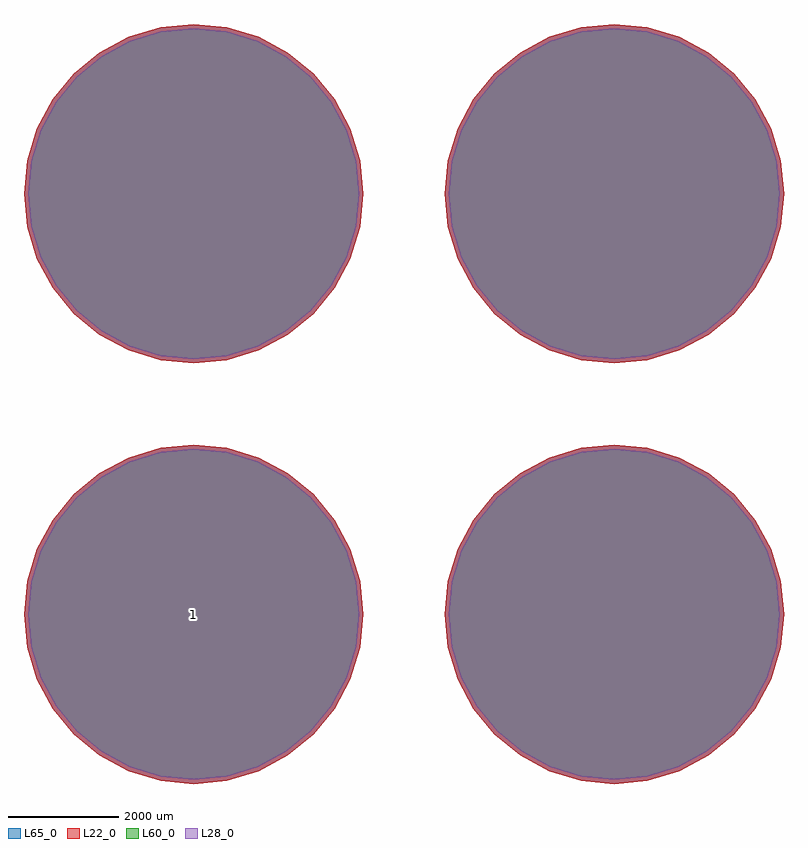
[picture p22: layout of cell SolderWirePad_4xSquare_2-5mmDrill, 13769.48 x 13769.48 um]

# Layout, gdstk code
import gdstk
lib = gdstk.Library(unit=1e-6, precision=1e-09)
def P(c, l, *ps):  # polygons
    for p in ps: c.add(gdstk.Polygon(p, *l))
L22_0 = (22, 0)
L28_0 = (28, 0)
L60_0 = (60, 0)
L65_0 = (65, 0)

solderwirepad_4xsquare_2 = lib.new_cell('SolderWirePad_4xSquare_2-5mmDrill')
P(solderwirepad_4xsquare_2, L22_0, [(6884.74,3810),(6825.66,4409.852),(6650.689,4986.652),(6366.553,5518.234),(5984.17,5984.17),(5518.234,6366.553),(4986.652,6650.689),(4409.852,6825.66),(3810,6884.74),(3210.148,6825.66),(2633.348,6650.689),(2101.766,6366.553),(1635.83,5984.17),(1253.447,5518.234),(969.311,4986.652),(794.34,4409.852),(735.26,3810),(794.34,3210.148),(969.311,2633.348),(1253.447,2101.766),(1635.83,1635.83),(2101.766,1253.447),(2633.348,969.311),(3210.148,794.34),(3810,735.26),(4409.852,794.34),(4986.652,969.311),(5518.234,1253.447),(5984.17,1635.83),(6366.553,2101.766),(6650.689,2633.348),(6825.66,3210.148)],
  [(-735.26,3810),(-794.34,4409.852),(-969.311,4986.652),(-1253.447,5518.234),(-1635.83,5984.17),(-2101.766,6366.553),(-2633.348,6650.689),(-3210.148,6825.66),(-3810,6884.74),(-4409.852,6825.66),(-4986.652,6650.689),(-5518.234,6366.553),(-5984.17,5984.17),(-6366.553,5518.234),(-6650.689,4986.652),(-6825.66,4409.852),(-6884.74,3810),(-6825.66,3210.148),(-6650.689,2633.348),(-6366.553,2101.766),(-5984.17,1635.83),(-5518.234,1253.447),(-4986.652,969.311),(-4409.852,794.34),(-3810,735.26),(-3210.148,794.34),(-2633.348,969.311),(-2101.766,1253.447),(-1635.83,1635.83),(-1253.447,2101.766),(-969.311,2633.348),(-794.34,3210.148)],
  [(6884.74,-3810),(6825.66,-3210.148),(6650.689,-2633.348),(6366.553,-2101.766),(5984.17,-1635.83),(5518.234,-1253.447),(4986.652,-969.311),(4409.852,-794.34),(3810,-735.26),(3210.148,-794.34),(2633.348,-969.311),(2101.766,-1253.447),(1635.83,-1635.83),(1253.447,-2101.766),(969.311,-2633.348),(794.34,-3210.148),(735.26,-3810),(794.34,-4409.852),(969.311,-4986.652),(1253.447,-5518.234),(1635.83,-5984.17),(2101.766,-6366.553),(2633.348,-6650.689),(3210.148,-6825.66),(3810,-6884.74),(4409.852,-6825.66),(4986.652,-6650.689),(5518.234,-6366.553),(5984.17,-5984.17),(6366.553,-5518.234),(6650.689,-4986.652),(6825.66,-4409.852)],
  [(-735.26,-3810),(-794.34,-3210.148),(-969.311,-2633.348),(-1253.447,-2101.766),(-1635.83,-1635.83),(-2101.766,-1253.447),(-2633.348,-969.311),(-3210.148,-794.34),(-3810,-735.26),(-4409.852,-794.34),(-4986.652,-969.311),(-5518.234,-1253.447),(-5984.17,-1635.83),(-6366.553,-2101.766),(-6650.689,-2633.348),(-6825.66,-3210.148),(-6884.74,-3810),(-6825.66,-4409.852),(-6650.689,-4986.652),(-6366.553,-5518.234),(-5984.17,-5984.17),(-5518.234,-6366.553),(-4986.652,-6650.689),(-4409.852,-6825.66),(-3810,-6884.74),(-3210.148,-6825.66),(-2633.348,-6650.689),(-2101.766,-6366.553),(-1635.83,-5984.17),(-1253.447,-5518.234),(-969.311,-4986.652),(-794.34,-4409.852)])
P(solderwirepad_4xsquare_2, L28_0, [(6809.74,3810),(6752.101,4395.22),(6581.398,4957.951),(6304.193,5476.566),(5931.136,5931.136),(5476.566,6304.193),(4957.951,6581.398),(4395.22,6752.101),(3810,6809.74),(3224.78,6752.101),(2662.049,6581.398),(2143.434,6304.193),(1688.864,5931.136),(1315.807,5476.566),(1038.602,4957.951),(867.899,4395.22),(810.26,3810),(867.899,3224.78),(1038.602,2662.049),(1315.807,2143.434),(1688.864,1688.864),(2143.434,1315.807),(2662.049,1038.602),(3224.78,867.899),(3810,810.26),(4395.22,867.899),(4957.951,1038.602),(5476.566,1315.807),(5931.136,1688.864),(6304.193,2143.434),(6581.398,2662.049),(6752.101,3224.78)],
  [(-810.26,3810),(-867.899,4395.22),(-1038.602,4957.951),(-1315.807,5476.566),(-1688.864,5931.136),(-2143.434,6304.193),(-2662.049,6581.398),(-3224.78,6752.101),(-3810,6809.74),(-4395.22,6752.101),(-4957.951,6581.398),(-5476.566,6304.193),(-5931.136,5931.136),(-6304.193,5476.566),(-6581.398,4957.951),(-6752.101,4395.22),(-6809.74,3810),(-6752.101,3224.78),(-6581.398,2662.049),(-6304.193,2143.434),(-5931.136,1688.864),(-5476.566,1315.807),(-4957.951,1038.602),(-4395.22,867.899),(-3810,810.26),(-3224.78,867.899),(-2662.049,1038.602),(-2143.434,1315.807),(-1688.864,1688.864),(-1315.807,2143.434),(-1038.602,2662.049),(-867.899,3224.78)],
  [(6809.74,-3810),(6752.101,-3224.78),(6581.398,-2662.049),(6304.193,-2143.434),(5931.136,-1688.864),(5476.566,-1315.807),(4957.951,-1038.602),(4395.22,-867.899),(3810,-810.26),(3224.78,-867.899),(2662.049,-1038.602),(2143.434,-1315.807),(1688.864,-1688.864),(1315.807,-2143.434),(1038.602,-2662.049),(867.899,-3224.78),(810.26,-3810),(867.899,-4395.22),(1038.602,-4957.951),(1315.807,-5476.566),(1688.864,-5931.136),(2143.434,-6304.193),(2662.049,-6581.398),(3224.78,-6752.101),(3810,-6809.74),(4395.22,-6752.101),(4957.951,-6581.398),(5476.566,-6304.193),(5931.136,-5931.136),(6304.193,-5476.566),(6581.398,-4957.951),(6752.101,-4395.22)],
  [(-810.26,-3810),(-867.899,-3224.78),(-1038.602,-2662.049),(-1315.807,-2143.434),(-1688.864,-1688.864),(-2143.434,-1315.807),(-2662.049,-1038.602),(-3224.78,-867.899),(-3810,-810.26),(-4395.22,-867.899),(-4957.951,-1038.602),(-5476.566,-1315.807),(-5931.136,-1688.864),(-6304.193,-2143.434),(-6581.398,-2662.049),(-6752.101,-3224.78),(-6809.74,-3810),(-6752.101,-4395.22),(-6581.398,-4957.951),(-6304.193,-5476.566),(-5931.136,-5931.136),(-5476.566,-6304.193),(-4957.951,-6581.398),(-4395.22,-6752.101),(-3810,-6809.74),(-3224.78,-6752.101),(-2662.049,-6581.398),(-2143.434,-6304.193),(-1688.864,-5931.136),(-1315.807,-5476.566),(-1038.602,-4957.951),(-867.899,-4395.22)])
P(solderwirepad_4xsquare_2, L60_0, [(6809.74,3810),(6752.101,4395.22),(6581.398,4957.951),(6304.193,5476.566),(5931.136,5931.136),(5476.566,6304.193),(4957.951,6581.398),(4395.22,6752.101),(3810,6809.74),(3224.78,6752.101),(2662.049,6581.398),(2143.434,6304.193),(1688.864,5931.136),(1315.807,5476.566),(1038.602,4957.951),(867.899,4395.22),(810.26,3810),(867.899,3224.78),(1038.602,2662.049),(1315.807,2143.434),(1688.864,1688.864),(2143.434,1315.807),(2662.049,1038.602),(3224.78,867.899),(3810,810.26),(4395.22,867.899),(4957.951,1038.602),(5476.566,1315.807),(5931.136,1688.864),(6304.193,2143.434),(6581.398,2662.049),(6752.101,3224.78)],
  [(-810.26,3810),(-867.899,4395.22),(-1038.602,4957.951),(-1315.807,5476.566),(-1688.864,5931.136),(-2143.434,6304.193),(-2662.049,6581.398),(-3224.78,6752.101),(-3810,6809.74),(-4395.22,6752.101),(-4957.951,6581.398),(-5476.566,6304.193),(-5931.136,5931.136),(-6304.193,5476.566),(-6581.398,4957.951),(-6752.101,4395.22),(-6809.74,3810),(-6752.101,3224.78),(-6581.398,2662.049),(-6304.193,2143.434),(-5931.136,1688.864),(-5476.566,1315.807),(-4957.951,1038.602),(-4395.22,867.899),(-3810,810.26),(-3224.78,867.899),(-2662.049,1038.602),(-2143.434,1315.807),(-1688.864,1688.864),(-1315.807,2143.434),(-1038.602,2662.049),(-867.899,3224.78)],
  [(6809.74,-3810),(6752.101,-3224.78),(6581.398,-2662.049),(6304.193,-2143.434),(5931.136,-1688.864),(5476.566,-1315.807),(4957.951,-1038.602),(4395.22,-867.899),(3810,-810.26),(3224.78,-867.899),(2662.049,-1038.602),(2143.434,-1315.807),(1688.864,-1688.864),(1315.807,-2143.434),(1038.602,-2662.049),(867.899,-3224.78),(810.26,-3810),(867.899,-4395.22),(1038.602,-4957.951),(1315.807,-5476.566),(1688.864,-5931.136),(2143.434,-6304.193),(2662.049,-6581.398),(3224.78,-6752.101),(3810,-6809.74),(4395.22,-6752.101),(4957.951,-6581.398),(5476.566,-6304.193),(5931.136,-5931.136),(6304.193,-5476.566),(6581.398,-4957.951),(6752.101,-4395.22)],
  [(-810.26,-3810),(-867.899,-3224.78),(-1038.602,-2662.049),(-1315.807,-2143.434),(-1688.864,-1688.864),(-2143.434,-1315.807),(-2662.049,-1038.602),(-3224.78,-867.899),(-3810,-810.26),(-4395.22,-867.899),(-4957.951,-1038.602),(-5476.566,-1315.807),(-5931.136,-1688.864),(-6304.193,-2143.434),(-6581.398,-2662.049),(-6752.101,-3224.78),(-6809.74,-3810),(-6752.101,-4395.22),(-6581.398,-4957.951),(-6304.193,-5476.566),(-5931.136,-5931.136),(-5476.566,-6304.193),(-4957.951,-6581.398),(-4395.22,-6752.101),(-3810,-6809.74),(-3224.78,-6752.101),(-2662.049,-6581.398),(-2143.434,-6304.193),(-1688.864,-5931.136),(-1315.807,-5476.566),(-1038.602,-4957.951),(-867.899,-4395.22)])
P(solderwirepad_4xsquare_2, L65_0, [(6884.74,3810),(6825.66,4409.852),(6650.689,4986.652),(6366.553,5518.234),(5984.17,5984.17),(5518.234,6366.553),(4986.652,6650.689),(4409.852,6825.66),(3810,6884.74),(3210.148,6825.66),(2633.348,6650.689),(2101.766,6366.553),(1635.83,5984.17),(1253.447,5518.234),(969.311,4986.652),(794.34,4409.852),(735.26,3810),(794.34,3210.148),(969.311,2633.348),(1253.447,2101.766),(1635.83,1635.83),(2101.766,1253.447),(2633.348,969.311),(3210.148,794.34),(3810,735.26),(4409.852,794.34),(4986.652,969.311),(5518.234,1253.447),(5984.17,1635.83),(6366.553,2101.766),(6650.689,2633.348),(6825.66,3210.148)],
  [(-735.26,3810),(-794.34,4409.852),(-969.311,4986.652),(-1253.447,5518.234),(-1635.83,5984.17),(-2101.766,6366.553),(-2633.348,6650.689),(-3210.148,6825.66),(-3810,6884.74),(-4409.852,6825.66),(-4986.652,6650.689),(-5518.234,6366.553),(-5984.17,5984.17),(-6366.553,5518.234),(-6650.689,4986.652),(-6825.66,4409.852),(-6884.74,3810),(-6825.66,3210.148),(-6650.689,2633.348),(-6366.553,2101.766),(-5984.17,1635.83),(-5518.234,1253.447),(-4986.652,969.311),(-4409.852,794.34),(-3810,735.26),(-3210.148,794.34),(-2633.348,969.311),(-2101.766,1253.447),(-1635.83,1635.83),(-1253.447,2101.766),(-969.311,2633.348),(-794.34,3210.148)],
  [(6884.74,-3810),(6825.66,-3210.148),(6650.689,-2633.348),(6366.553,-2101.766),(5984.17,-1635.83),(5518.234,-1253.447),(4986.652,-969.311),(4409.852,-794.34),(3810,-735.26),(3210.148,-794.34),(2633.348,-969.311),(2101.766,-1253.447),(1635.83,-1635.83),(1253.447,-2101.766),(969.311,-2633.348),(794.34,-3210.148),(735.26,-3810),(794.34,-4409.852),(969.311,-4986.652),(1253.447,-5518.234),(1635.83,-5984.17),(2101.766,-6366.553),(2633.348,-6650.689),(3210.148,-6825.66),(3810,-6884.74),(4409.852,-6825.66),(4986.652,-6650.689),(5518.234,-6366.553),(5984.17,-5984.17),(6366.553,-5518.234),(6650.689,-4986.652),(6825.66,-4409.852)],
  [(-735.26,-3810),(-794.34,-3210.148),(-969.311,-2633.348),(-1253.447,-2101.766),(-1635.83,-1635.83),(-2101.766,-1253.447),(-2633.348,-969.311),(-3210.148,-794.34),(-3810,-735.26),(-4409.852,-794.34),(-4986.652,-969.311),(-5518.234,-1253.447),(-5984.17,-1635.83),(-6366.553,-2101.766),(-6650.689,-2633.348),(-6825.66,-3210.148),(-6884.74,-3810),(-6825.66,-4409.852),(-6650.689,-4986.652),(-6366.553,-5518.234),(-5984.17,-5984.17),(-5518.234,-6366.553),(-4986.652,-6650.689),(-4409.852,-6825.66),(-3810,-6884.74),(-3210.148,-6825.66),(-2633.348,-6650.689),(-2101.766,-6366.553),(-1635.83,-5984.17),(-1253.447,-5518.234),(-969.311,-4986.652),(-794.34,-4409.852)])
solderwirepad_4xsquare_2.add(gdstk.Label('1', (-3810,-3810), layer=28, texttype=0))
solderwirepad_4xsquare_2.add(gdstk.Label('type', (-2540,-8890), layer=9, texttype=0))
solderwirepad_4xsquare_2.add(gdstk.Label('devicename', (0,8890), layer=9, texttype=0))

lib.write_gds('SolderWirePad_4xSquare_2-5mmDrill.gds')
